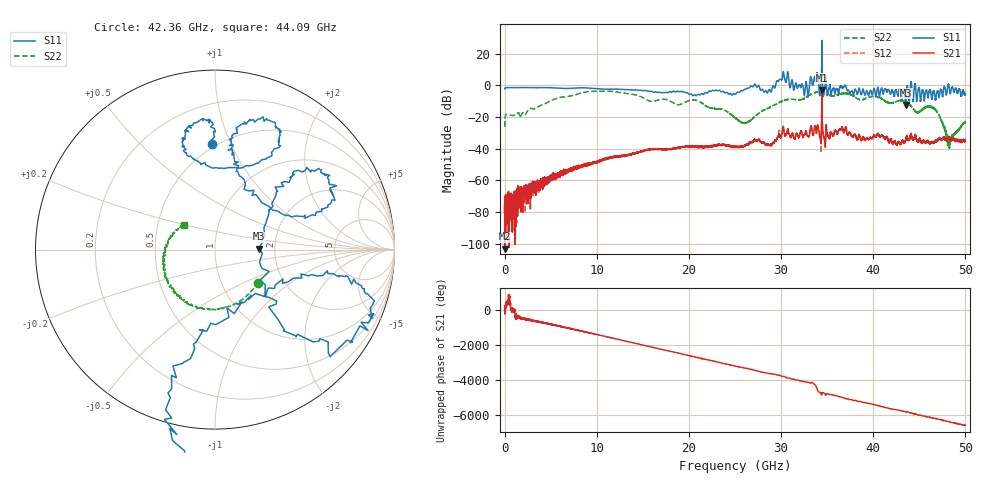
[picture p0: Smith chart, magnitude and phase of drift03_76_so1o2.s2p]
!Created with skrf (http://scikit-rf.org).
# Hz S RI R 50.0
!freq ReS11 ImS11 ReS21 ImS21 ReS12 ImS12 ReS22 ImS22
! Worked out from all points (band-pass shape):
!   10000 points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, 5.3 MHz to 50 GHz, reference 50 ohm
!   highest |S21| = -2.84 dB at 34.43 GHz (marker M1); lowest = -103.2 dB at 30.3 MHz (marker M2)
!   |S21| within 3 dB of the highest: 34.42756 GHz to 34.43436 GHz (6.805 MHz wide, 0.0198 % of centre)
!   lowest |S11| = -12.3 dB at 43.52 GHz (marker M3), VSWR 1.64, Z = 82 + j0.965 ohm
!   |S11| at or under -10 dB: 43.48607 GHz to 43.54399 GHz (57.92 MHz wide, 0.133 % of centre); 43.54712 GHz to 43.55173 GHz (4.605 MHz wide, 0.0106 % of centre); 44.31501 GHz to 44.31504 GHz (24.29 kHz wide, 5.48e-05 % of centre) (the widest 3 of 5)
!   |S22| runs from -39.6 to -3.6 dB; largest |S21 - S12| = 0.22
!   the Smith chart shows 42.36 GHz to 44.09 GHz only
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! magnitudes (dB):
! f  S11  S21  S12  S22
! 5.3 MHz  -2.1  -75.2  -76.3  -26.1
! 30.3 MHz  -1.8  -103.2  -77.6  -22.7
! 320.3 MHz  -1.4  -77.1  -79.7  -18.2
! 1.765 GHz  -1.3  -65.8  -70.0  -19.5
! 8.34 GHz  -1.5  -51.3  -51.1  -4.7
! 16.67 GHz  -4.4  -40.2  -40.1  -9.2
! 20.75 GHz  -6.3  -38.6  -38.6  -9.3
! 25.01 GHz  -5.5  -38.9  -38.8  -20.5
! 26.23 GHz  -2.2  -37.4  -37.7  -23.6
! 28.72 GHz  -2.5  -37.7  -37.4  -14.1
! 30.14 GHz  4.4  -29.5  -29.8  -9.9
! 32.74 GHz  2.0  -29.7  -29.2  -7.4
! 33.34 GHz  2.6  -27.5  -27.8  -5.2
! 33.82 GHz  4.0  -29.2  -29.4  -4.3
! 34.43 GHz  28.4  -2.8  -5.0  -4.0
! 36.48 GHz  -0.5  -28.0  -28.0  -5.3
! 41.67 GHz  -2.9  -35.1  -35.4  -11.0
! 43.52 GHz  -12.3  -34.5  -34.7  -10.3
! 44.78 GHz  -6.9  -35.2  -35.3  -17.2
! 46.67 GHz  -5.3  -35.5  -35.5  -14.8
! 48.22 GHz  -0.5  -33.4  -33.0  -37.2
! 50 GHz  -5.2  -34.9  -35.3  -23.2
